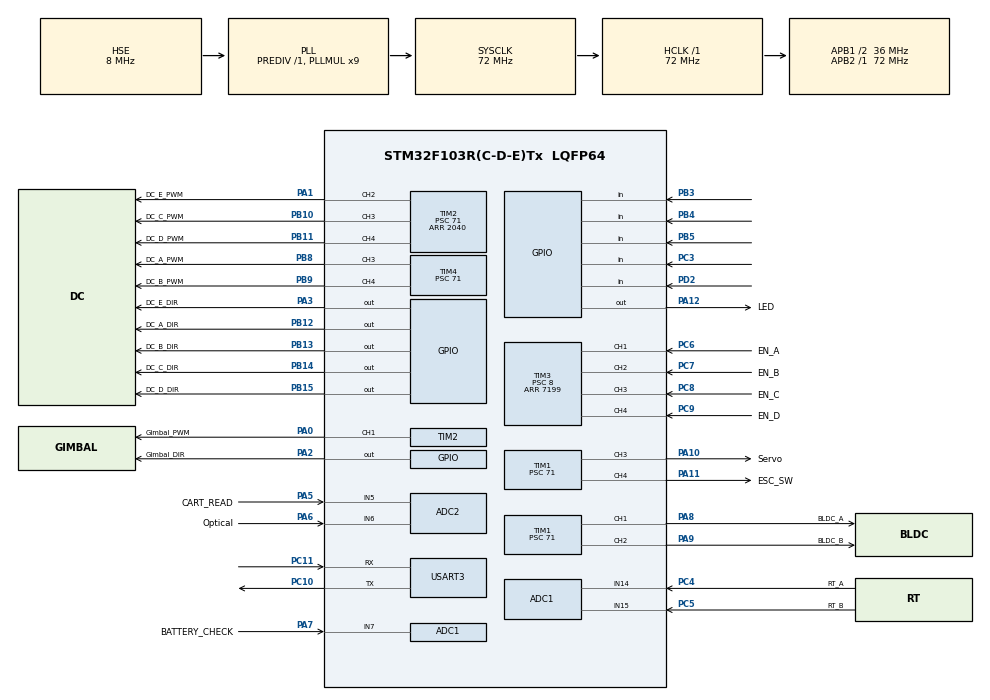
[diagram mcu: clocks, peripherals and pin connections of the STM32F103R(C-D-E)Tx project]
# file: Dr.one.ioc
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ADC1.Channel-0\#ChannelRegularConversion=ADC_CHANNEL_14
ADC1.Channel-1\#ChannelRegularConversion=ADC_CHANNEL_15
ADC1.Channel-2\#ChannelRegularConversion=ADC_CHANNEL_7
ADC1.ContinuousConvMode=ENABLE
ADC1.DataAlign=ADC_DATAALIGN_RIGHT
ADC1.DiscontinuousConvMode=DISABLE
ADC1.EnableAnalogWatchDog=false
ADC1.EnableRegularConversion=ENABLE
ADC1.ExternalTrigConv=ADC_SOFTWARE_START
ADC1.InjNumberOfConversion=0
ADC1.NbrOfConversion=3
ADC1.NbrOfConversionFlag=1
ADC1.Rank-0\#ChannelRegularConversion=1
ADC1.Rank-1\#ChannelRegularConversion=2
ADC1.Rank-2\#ChannelRegularConversion=3
ADC1.SamplingTime-0\#ChannelRegularConversion=ADC_SAMPLETIME_7CYCLES_5
ADC1.SamplingTime-1\#ChannelRegularConversion=ADC_SAMPLETIME_7CYCLES_5
ADC1.SamplingTime-2\#ChannelRegularConversion=ADC_SAMPLETIME_1CYCLE_5
ADC1.ScanConvMode=ADC_SCAN_ENABLE
ADC1.master=1
ADC2.Channel-15\#ChannelRegularConversion=ADC_CHANNEL_5
ADC2.Channel-18\#ChannelRegularConversion=ADC_CHANNEL_6
ADC2.ContinuousConvMode=ENABLE
ADC2.InjNumberOfConversion=0
ADC2.NbrOfConversion=2
ADC2.NbrOfConversionFlag=1
ADC2.Rank-15\#ChannelRegularConversion=1
ADC2.Rank-18\#ChannelRegularConversion=2
ADC2.SamplingTime-15\#ChannelRegularConversion=ADC_SAMPLETIME_1CYCLE_5
ADC2.SamplingTime-18\#ChannelRegularConversion=ADC_SAMPLETIME_1CYCLE_5
Mcu.Family=STM32F1
Mcu.Name=STM32F103R(C-D-E)Tx
Mcu.Package=LQFP64
NVIC.PriorityGroup=NVIC_PRIORITYGROUP_4
NVIC.TIM3_IRQn=true\:0\:0\:false\:false\:true\:true
NVIC.USART3_IRQn=true\:0\:0\:false\:false\:true\:true
PA0-WKUP.GPIO_Label=Gimbal_PWM
PA0-WKUP.GPIO_ModeDefaultPP=GPIO_MODE_AF_PP
PA0-WKUP.GPIO_Speed=GPIO_SPEED_FREQ_HIGH
PA0-WKUP.Signal=S_TIM2_CH1_ETR
PA1.GPIO_Label=DC_E_PWM
PA1.GPIO_ModeDefaultPP=GPIO_MODE_AF_PP
PA1.GPIO_Speed=GPIO_SPEED_FREQ_HIGH
PA1.Signal=S_TIM2_CH2
PA10.GPIO_Label=Servo
PA10.GPIO_ModeDefaultPP=GPIO_MODE_AF_PP
PA10.GPIO_Speed=GPIO_SPEED_FREQ_HIGH
PA10.Signal=S_TIM1_CH3
PA11.GPIO_Label=ESC_SW
PA11.GPIO_ModeDefaultPP=GPIO_MODE_AF_PP
PA11.GPIO_Speed=GPIO_SPEED_FREQ_HIGH
PA11.Signal=S_TIM1_CH4
PA12.GPIO_Label=LED
PA12.GPIO_ModeDefaultOutputPP=GPIO_MODE_OUTPUT_PP
PA12.GPIO_PuPd=GPIO_NOPULL
PA12.GPIO_Speed=GPIO_SPEED_FREQ_HIGH
PA12.PinState=GPIO_PIN_RESET
PA12.Signal=GPIO_Output
PA13.Mode=Serial_Wire
PA13.Signal=SYS_JTMS-SWDIO
PA14.Mode=Serial_Wire
PA14.Signal=SYS_JTCK-SWCLK
PA2.GPIO_Label=Gimbal_DIR
PA2.GPIO_ModeDefaultOutputPP=GPIO_MODE_OUTPUT_PP
PA2.GPIO_PuPd=GPIO_NOPULL
PA2.GPIO_Speed=GPIO_SPEED_FREQ_HIGH
PA2.PinState=GPIO_PIN_RESET
PA2.Signal=GPIO_Output
PA3.GPIO_Label=DC_E_DIR
PA3.GPIO_ModeDefaultOutputPP=GPIO_MODE_OUTPUT_PP
PA3.GPIO_PuPd=GPIO_NOPULL
PA3.GPIO_Speed=GPIO_SPEED_FREQ_HIGH
PA3.PinState=GPIO_PIN_RESET
PA3.Signal=GPIO_Output
PA5.GPIO_Label=CART_READ
PA5.GPIO_Mode=GPIO_MODE_ANALOG
PA5.Signal=ADCx_IN5
PA6.GPIO_Label=Optical
PA6.GPIO_Mode=GPIO_MODE_ANALOG
PA6.Signal=ADCx_IN6
PA7.GPIO_Label=BATTERY_CHECK
PA7.GPIO_Mode=GPIO_MODE_ANALOG
PA7.Signal=ADCx_IN7
PA8.GPIO_Label=BLDC_A
PA8.GPIO_ModeDefaultPP=GPIO_MODE_AF_PP
PA8.GPIO_Speed=GPIO_SPEED_FREQ_HIGH
PA8.Signal=S_TIM1_CH1
PA9.GPIO_Label=BLDC_B
PA9.GPIO_ModeDefaultPP=GPIO_MODE_AF_PP
PA9.GPIO_Speed=GPIO_SPEED_FREQ_HIGH
PA9.Signal=S_TIM1_CH2
PB10.GPIO_Label=DC_C_PWM
PB10.GPIO_ModeDefaultPP=GPIO_MODE_AF_PP
PB10.GPIO_Speed=GPIO_SPEED_FREQ_HIGH
PB10.Signal=S_TIM2_CH3
PB11.GPIO_Label=DC_D_PWM
PB11.GPIO_ModeDefaultPP=GPIO_MODE_AF_PP
PB11.GPIO_Speed=GPIO_SPEED_FREQ_HIGH
PB11.Signal=S_TIM2_CH4
PB12.GPIO_Label=DC_A_DIR
PB12.GPIO_ModeDefaultOutputPP=GPIO_MODE_OUTPUT_PP
PB12.GPIO_PuPd=GPIO_NOPULL
PB12.GPIO_Speed=GPIO_SPEED_FREQ_HIGH
PB12.PinState=GPIO_PIN_RESET
PB12.Signal=GPIO_Output
PB13.GPIO_Label=DC_B_DIR
PB13.GPIO_ModeDefaultOutputPP=GPIO_MODE_OUTPUT_PP
PB13.GPIO_PuPd=GPIO_NOPULL
PB13.GPIO_Speed=GPIO_SPEED_FREQ_HIGH
PB13.PinState=GPIO_PIN_RESET
PB13.Signal=GPIO_Output
PB14.GPIO_Label=DC_C_DIR
PB14.GPIO_ModeDefaultOutputPP=GPIO_MODE_OUTPUT_PP
PB14.GPIO_PuPd=GPIO_NOPULL
PB14.GPIO_Speed=GPIO_SPEED_FREQ_HIGH
PB14.PinState=GPIO_PIN_RESET
PB14.Signal=GPIO_Output
PB15.GPIO_Label=DC_D_DIR
PB15.GPIO_ModeDefaultOutputPP=GPIO_MODE_OUTPUT_PP
PB15.GPIO_PuPd=GPIO_NOPULL
PB15.GPIO_Speed=GPIO_SPEED_FREQ_HIGH
PB15.PinState=GPIO_PIN_RESET
PB15.Signal=GPIO_Output
PB3.GPIO_Mode=GPIO_MODE_INPUT
PB3.GPIO_PuPd=GPIO_NOPULL
PB3.Signal=GPIO_Input
PB4.GPIO_Mode=GPIO_MODE_INPUT
PB4.GPIO_PuPd=GPIO_NOPULL
PB4.Signal=GPIO_Input
PB5.GPIO_Mode=GPIO_MODE_INPUT
PB5.GPIO_PuPd=GPIO_NOPULL
PB5.Signal=GPIO_Input
PB8.GPIO_Label=DC_A_PWM
PB8.GPIO_ModeDefaultPP=GPIO_MODE_AF_PP
PB8.GPIO_Speed=GPIO_SPEED_FREQ_HIGH
PB8.Signal=S_TIM4_CH3
PB9.GPIO_Label=DC_B_PWM
PB9.GPIO_ModeDefaultPP=GPIO_MODE_AF_PP
PB9.GPIO_Speed=GPIO_SPEED_FREQ_HIGH
PB9.Signal=S_TIM4_CH4
PC10.GPIO_Speed=GPIO_SPEED_FREQ_HIGH
PC10.Mode=Asynchronous
PC10.Signal=USART3_TX
PC11.GPIO_PuPd=GPIO_PULLUP
PC11.Mode=Asynchronous
PC11.Signal=USART3_RX
PC3.GPIO_Mode=GPIO_MODE_INPUT
PC3.GPIO_PuPd=GPIO_NOPULL
PC3.Signal=GPIO_Input
PC4.GPIO_Label=RT_A
PC4.GPIO_Mode=GPIO_MODE_ANALOG
PC4.Signal=ADCx_IN14
PC5.GPIO_Label=RT_B
PC5.GPIO_Mode=GPIO_MODE_ANALOG
PC5.Signal=ADCx_IN15
PC6.GPIO_Label=EN_A
PC6.GPIO_Mode=GPIO_MODE_INPUT
PC6.GPIO_PuPd=GPIO_NOPULL
PC6.Signal=S_TIM3_CH1
PC7.GPIO_Label=EN_B
PC7.GPIO_Mode=GPIO_MODE_INPUT
PC7.GPIO_PuPd=GPIO_NOPULL
PC7.Signal=S_TIM3_CH2
PC8.GPIO_Label=EN_C
PC8.GPIO_Mode=GPIO_MODE_INPUT
PC8.GPIO_PuPd=GPIO_NOPULL
PC8.Signal=S_TIM3_CH3
PC9.GPIO_Label=EN_D
PC9.GPIO_Mode=GPIO_MODE_INPUT
PC9.GPIO_PuPd=GPIO_NOPULL
PC9.Signal=S_TIM3_CH4
PD0-OSC_IN.Mode=HSE-External-Oscillator
PD0-OSC_IN.Signal=RCC_OSC_IN
PD1-OSC_OUT.Mode=HSE-External-Oscillator
PD1-OSC_OUT.Signal=RCC_OSC_OUT
PD2.GPIO_Mode=GPIO_MODE_INPUT
PD2.GPIO_PuPd=GPIO_NOPULL
PD2.Signal=GPIO_Input
ProjectManager.HeapSize=0x200
ProjectManager.StackSize=0x400
ProjectManager.TargetToolchain=EWARM
RCC.ADCPresc=RCC_ADCPCLK2_DIV6
RCC.AHBFreq_Value=72000000
RCC.APB1CLKDivider=RCC_HCLK_DIV2
RCC.APB1Freq_Value=36000000
RCC.APB1TimFreq_Value=72000000
RCC.APB2Freq_Value=72000000
RCC.APB2TimFreq_Value=72000000
RCC.HCLKFreq_Value=72000000
RCC.PLLMUL=RCC_PLL_MUL9
RCC.PLLSourceVirtual=RCC_PLLSOURCE_HSE
RCC.SYSCLKFreq_VALUE=72000000
RCC.SYSCLKSource=RCC_SYSCLKSOURCE_PLLCLK
RCC.USBFreq_Value=72000000
SH.ADCx_IN14.0=ADC1_IN14,IN14
SH.ADCx_IN15.0=ADC1_IN15,IN15
SH.ADCx_IN5.0=ADC2_IN5,IN5
SH.ADCx_IN6.0=ADC2_IN6,IN6
SH.ADCx_IN7.0=ADC1_IN7,IN7
SH.S_TIM1_CH1.0=TIM1_CH1,PWM Generation1 CH1
SH.S_TIM1_CH2.0=TIM1_CH2,PWM Generation2 CH2
SH.S_TIM1_CH3.0=TIM1_CH3,PWM Generation3 CH3
SH.S_TIM1_CH4.0=TIM1_CH4,PWM Generation4 CH4
SH.S_TIM2_CH1_ETR.0=TIM2_CH1,PWM Generation1 CH1
SH.S_TIM2_CH2.0=TIM2_CH2,PWM Generation2 CH2
SH.S_TIM2_CH3.0=TIM2_CH3,PWM Generation3 CH3
SH.S_TIM2_CH4.0=TIM2_CH4,PWM Generation4 CH4
SH.S_TIM3_CH1.0=TIM3_CH1,Input_Capture1_from_TI1
SH.S_TIM3_CH2.0=TIM3_CH2,Input_Capture2_from_TI2
SH.S_TIM3_CH3.0=TIM3_CH3,Input_Capture3_from_TI3
SH.S_TIM3_CH4.0=TIM3_CH4,Input_Capture4_from_TI4
SH.S_TIM4_CH3.0=TIM4_CH3,PWM Generation3 CH3
SH.S_TIM4_CH4.0=TIM4_CH4,PWM Generation4 CH4
TIM1.Channel-PWM\ Generation1\ CH1=TIM_CHANNEL_1
TIM1.Channel-PWM\ Generation2\ CH2=TIM_CHANNEL_2
TIM1.Channel-PWM\ Generation3\ CH3=TIM_CHANNEL_3
TIM1.Channel-PWM\ Generation4\ CH4=TIM_CHANNEL_4
TIM1.OCFastMode_PWM-PWM\ Generation1\ CH1=TIM_OCFAST_ENABLE
TIM1.OCFastMode_PWM-PWM\ Generation2\ CH2=TIM_OCFAST_ENABLE
TIM1.OCFastMode_PWM-PWM\ Generation3\ CH3=TIM_OCFAST_ENABLE
TIM1.OCIdleState_1=TIM_OCIDLESTATE_SET
TIM1.OCIdleState_2=TIM_OCIDLESTATE_SET
TIM1.OCIdleState_3=TIM_OCIDLESTATE_SET
TIM1.OCMode_PWM-PWM\ Generation2\ CH2=TIM_OCMODE_PWM1
TIM1.Period=2040
TIM1.Prescaler=71
TIM2.Channel-PWM\ Generation1\ CH1=TIM_CHANNEL_1
TIM2.Channel-PWM\ Generation2\ CH2=TIM_CHANNEL_2
TIM2.Channel-PWM\ Generation3\ CH3=TIM_CHANNEL_3
TIM2.Channel-PWM\ Generation4\ CH4=TIM_CHANNEL_4
TIM2.OCFastMode_PWM-PWM\ Generation1\ CH1=TIM_OCFAST_ENABLE
TIM2.OCFastMode_PWM-PWM\ Generation2\ CH2=TIM_OCFAST_ENABLE
TIM2.OCFastMode_PWM-PWM\ Generation3\ CH3=TIM_OCFAST_ENABLE
TIM2.OCFastMode_PWM-PWM\ Generation4\ CH4=TIM_OCFAST_ENABLE
TIM2.Period=2040
TIM2.Prescaler=71
TIM3.Channel-Input_Capture1_from_TI1=TIM_CHANNEL_1
TIM3.Channel-Input_Capture2_from_TI2=TIM_CHANNEL_2
TIM3.Channel-Input_Capture3_from_TI3=TIM_CHANNEL_3
TIM3.Channel-Input_Capture4_from_TI4=TIM_CHANNEL_4
TIM3.Period=7199
TIM3.Prescaler=8
TIM4.Channel-PWM\ Generation3\ CH3=TIM_CHANNEL_3
TIM4.Channel-PWM\ Generation4\ CH4=TIM_CHANNEL_4
TIM4.OCFastMode_PWM-PWM\ Generation3\ CH3=TIM_OCFAST_ENABLE
TIM4.OCFastMode_PWM-PWM\ Generation4\ CH4=TIM_OCFAST_ENABLE
TIM4.OCPolarity_3=TIM_OCPOLARITY_HIGH
TIM4.OCPolarity_4=TIM_OCPOLARITY_HIGH
TIM4.Period=2040
TIM4.Prescaler=71
USART3.VirtualMode=VM_ASYNC
board=custom

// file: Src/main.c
/**
  ******************************************************************************
  * @file           : main.c
  * @brief          : Main program body
  ******************************************************************************
  ** This notice applies to any and all portions of this file
  * that are not between comment pairs USER CODE BEGIN and
  * USER CODE END. Other portions of this file, whether
  * inserted by the user or by software development tools
  * are owned by their respective copyright owners.
  *
  * COPYRIGHT(c) 2018 STMicroelectronics
  *
  * Redistribution and use in source and binary forms, with or without modification,
  * are permitted provided that the following conditions are met:
  *   1. Redistributions of source code must retain the above copyright notice,
  *      this list of conditions and the following disclaimer.
  *   2. Redistributions in binary form must reproduce the above copyright notice,
  *      this list of conditions and the following disclaimer in the documentation
  *      and/or other materials provided with the distribution.
  *   3. Neither the name of STMicroelectronics nor the names of its contributors
  *      may be used to endorse or promote products derived from this software
  *      without specific prior written permission.
  *
  * THIS SOFTWARE IS PROVIDED BY THE COPYRIGHT HOLDERS AND CONTRIBUTORS "AS IS"
  * AND ANY EXPRESS OR IMPLIED WARRANTIES, INCLUDING, BUT NOT LIMITED TO, THE
  * IMPLIED WARRANTIES OF MERCHANTABILITY AND FITNESS FOR A PARTICULAR PURPOSE ARE
  * DISCLAIMED. IN NO EVENT SHALL THE COPYRIGHT HOLDER OR CONTRIBUTORS BE LIABLE
  * FOR ANY DIRECT, INDIRECT, INCIDENTAL, SPECIAL, EXEMPLARY, OR CONSEQUENTIAL
  * DAMAGES (INCLUDING, BUT NOT LIMITED TO, PROCUREMENT OF SUBSTITUTE GOODS OR
  * SERVICES; LOSS OF USE, DATA, OR PROFITS; OR BUSINESS INTERRUPTION) HOWEVER
  * CAUSED AND ON ANY THEORY OF LIABILITY, WHETHER IN CONTRACT, STRICT LIABILITY,
  * OR TORT (INCLUDING NEGLIGENCE OR OTHERWISE) ARISING IN ANY WAY OUT OF THE USE
  * OF THIS SOFTWARE, EVEN IF ADVISED OF THE POSSIBILITY OF SUCH DAMAGE.
  *
  ******************************************************************************
  */
#include "main.h"
#include "stm32f1xx_hal.h"

/* USER CODE BEGIN Includes */
#include "rs485.h"
/* USER CODE END Includes */

ADC_HandleTypeDef hadc1;
ADC_HandleTypeDef hadc2;

TIM_HandleTypeDef htim1;
TIM_HandleTypeDef htim2;
TIM_HandleTypeDef htim3;
TIM_HandleTypeDef htim4;

UART_HandleTypeDef huart3;

/* USER CODE BEGIN PV */

/* Private variables ---------------------------------------------------------*/

//
/*
DC Pin Number 0~3 = A~D
     D

 C |  | C

     B
  []
*/
DC dc0 = {DC_A_DIR_GPIO_Port, DC_A_PWM_GPIO_Port, DC_A_DIR_Pin, DC_A_PWM_Pin , 0};
DC dc1 = {DC_B_DIR_GPIO_Port, DC_B_PWM_GPIO_Port, DC_B_DIR_Pin, DC_B_PWM_Pin, 0};
DC dc2 = {DC_C_DIR_GPIO_Port, DC_C_PWM_GPIO_Port, DC_C_DIR_Pin, DC_C_PWM_Pin, 0};
DC dc3 = {DC_D_DIR_GPIO_Port, DC_D_PWM_GPIO_Port, DC_D_DIR_Pin, DC_D_PWM_Pin, 0};
DC dc4 = {DC_E_DIR_GPIO_Port, DC_E_PWM_GPIO_Port, DC_E_DIR_Pin, DC_E_PWM_Pin, 0};

// BLDC
BL bl0 = {BLDC_A_GPIO_Port, BLDC_A_Pin}; // ��
BL bl1 = {BLDC_B_GPIO_Port, BLDC_B_Pin}; // ��

//  ch0~3 = dc0~3
CH ch0 = {0, 0, 0, 0, {0, 0, 0}, 0};  // newv, oldv, width, angle, data[3], status
CH ch1 = {0, 0, 0, 0, {0, 0, 0}, 0};
CH ch2 = {0, 0, 0, 0, {0, 0, 0}, 0};
CH ch3 = {0, 0, 0, 0, {0, 0, 0}, 0};

// pid0~3 = dc0~3
PID pid0 = {7.75, 6.5, 0, 0, 0, 0, 0, 0, 0, 0, 0, 0, 0, 0, 0, 0, 0, 0, 0, 0}; // kp, ki, kd, p, i, d, err, err_prev, de, dt, control,, kp_integer, kp_decimal, ki~, kd~
PID pid1 = {50, 1, 0, 0, 0, 0, 0, 0, 0, 0, 0, 0, 0, 0, 0, 0, 0, 0, 0, 0};
PID pid2 = {30.5, 0.25, 0, 0, 0, 0, 0, 0, 0, 0, 0, 0, 0, 0, 0, 0, 0, 0, 0, 0};
PID pid3 = {60.0, 3.25, 0, 0, 0, 0, 0, 0, 0, 0, 0, 0, 0, 0, 0, 0, 0, 0, 0, 0};
PID pid4 = {1, 1, 0, 0, 0, 0, 0, 0, 0, 0, 0, 0, 0, 0, 0, 0, 0, 0, 0, 0};

CONTROL roll       =  {0, 0, 0, 0, 0, 0};
CONTROL pitch      =  {0, 0, 0, 0, 0, 0};
CONTROL yaw        =  {0, 0, 0, 0, 0, 0};

/* USER CODE END PV */

void SystemClock_Config(void);
static void MX_GPIO_Init(void);
static void MX_ADC1_Init(void);
static void MX_TIM1_Init(void);
static void MX_TIM2_Init(void);
static void MX_TIM3_Init(void);
static void MX_TIM4_Init(void);
static void MX_ADC2_Init(void);
static void MX_USART3_UART_Init(void);
void HAL_TIM_MspPostInit(TIM_HandleTypeDef *htim);

/* USER CODE BEGIN PFP */
/* Private function prototypes -----------------------------------------------*/

//  Falling Edge<-> Rising Edge
static void set_polarity(TIM_TypeDef *tim,uint16_t ch,uint16_t polarity);
float getMvAverage(__IO float *ch, __IO float value, int len);
void setPidBLDC (PID *pid);
void setPidDC(PID *pid, CH *ch, DC *dc, int axis);

void sepReceiveBuf(PID *pid, int bufCount);
void sumReceiveBuf(PID *pid);
void entReceiveBuf();

int map(int x, int in_min, int in_max, int out_min, int out_max);
float map_float(float x, float in_min, float in_max, float out_min, float out_max);
uint8_t checkSum(uint8_t *data, uint8_t len, uint8_t checkSumByte);
void calEncoder(CH *ch);
void USART_ClearITPendingBit(UART_HandleTypeDef* USARTx, uint16_t USART_IT);

/* USER CODE END PFP */

/* USER CODE BEGIN 0 */

static int timer2Tick = 0;
int throttle = 0;
float targetDeg = 0.;
uint8_t ReceiveFromRpiBuf[RECEIVE_FROM_RPI_BYTE];
uint8_t Fill_ReceiveFromRpi = 0;
uint8_t ArmState = 0;
float prev_p = 0;
float prev_i = 0;
float prev_d = 0;

/* USER CODE END 0 */

int main(void)
{

  /* MCU Configuration----------------------------------------------------------*/

  /* Reset of all peripherals, Initializes the Flash interface and the Systick. */
  HAL_Init();

  /* Configure the system clock */
  SystemClock_Config();

  MX_GPIO_Init();
  MX_ADC1_Init();
  MX_TIM1_Init();
  MX_TIM2_Init();
  MX_TIM3_Init();
  MX_TIM4_Init();
  MX_ADC2_Init();
  MX_USART3_UART_Init();
  /* USER CODE BEGIN 2 */

  // BLDC Motor  490 Hz period  pulse width 0 ~ 2040
  HAL_TIM_PWM_Start(&htim1, TIM_CHANNEL_1);             // Bldc Motor 0
  HAL_TIM_PWM_Start(&htim1, TIM_CHANNEL_2);             // Bldc Motor 1
  //HAL_TIM_PWM_Start(&htim1, TIM_CHANNEL_3);           // Bldc Motor 1
  HAL_TIM_Base_Start_IT(&htim1);

  // DC Motor 490Hz Period   pulse width 0 ~ 1020
  HAL_TIM_PWM_Start(&htim4, TIM_CHANNEL_3);             // DC Motor A
  HAL_TIM_PWM_Start(&htim4, TIM_CHANNEL_4);             // DC Motor B
  HAL_TIM_PWM_Start(&htim2, TIM_CHANNEL_3);             // DC Motor C
  HAL_TIM_PWM_Start(&htim2, TIM_CHANNEL_4);             // DC Motor D
  HAL_TIM_PWM_Start(&htim2, TIM_CHANNEL_2);             // DC Motor E

  // ESC Switch 490Hz Period     pulse width 0 ~ 2040
  // HAL_TIM_PWM_Start(&htim1, TIM_CHANNEL_4);             // ESC Switch

  // InputCaputre 0 ~ 7200
  HAL_TIM_IC_Start_IT(&htim3, TIM_CHANNEL_1);           // Encoder A
  HAL_TIM_IC_Start_IT(&htim3, TIM_CHANNEL_2);           // Encoder B
  HAL_TIM_IC_Start_IT(&htim3, TIM_CHANNEL_3);           // Encoder C
  HAL_TIM_IC_Start_IT(&htim3, TIM_CHANNEL_4);           // Encoder D

  HAL_FLASH_Unlock();
  __IO uint16_t readTemp = *(__IO uint16_t *)PID0_KP;
  if( (float)readTemp/1000 == 0.0 )
  {
    printf("Flash Memory Read Failed\r\n");
  }
  else
  {
    pid0.kp = (float)readTemp / 1000;
    readTemp = *(__IO uint16_t *)PID0_KI;
    pid0.ki = (float)readTemp / 1000;
    readTemp = *(__IO uint16_t *)PID0_KD;
    pid0.kd = (float)readTemp / 1000;

    readTemp = *(__IO uint16_t *)PID1_KP;
    pid1.kp = (float)readTemp / 1000;
    readTemp = *(__IO uint16_t *)PID1_KI;
    pid1.ki = (float)readTemp / 1000;
    readTemp = *(__IO uint16_t *)PID1_KD;
    pid1.kd = (float)readTemp / 1000;

    readTemp = *(__IO uint16_t *)PID2_KP;
    pid2.kp = (float)readTemp / 1000;
    readTemp = *(__IO uint16_t *)PID2_KI;
    pid2.ki = (float)readTemp / 1000;
    readTemp = *(__IO uint16_t *)PID2_KD;
    pid2.kd = (float)readTemp / 1000;

    readTemp = *(__IO uint16_t *)PID3_KP;
    pid3.kp = (float)readTemp / 1000;
    readTemp = *(__IO uint16_t *)PID3_KI;
    pid3.ki = (float)readTemp / 1000;
    readTemp = *(__IO uint16_t *)PID3_KD;
    pid3.kd = (float)readTemp / 1000;

    readTemp = *(__IO uint16_t *)PID4_KP;
    pid4.kp = (float)readTemp / 1000;
    readTemp = *(__IO uint16_t *)PID4_KI;
    pid4.ki = (float)readTemp / 1000;
    readTemp = *(__IO uint16_t *)PID4_KD;
    pid4.kd = (float)readTemp / 1000;

    HAL_FLASH_Lock();

    prev_p = pid4.kp;
    prev_i = pid4.ki;
    prev_d = pid4.kd;
  }
  printf("Flash Memory Read Ok\r\n");

  /* USER CODE END 2 */
  printf("%.3f %.3f %.3f %.3f %.3f %.3f %.3f %.3f %.3f %.3f %.3f %.3f %.3f %.3f %.3f\n", pid0.kp, pid0.ki, pid0.kd, pid1.kp, pid1.ki, pid1.kd, pid2.kp, pid2.ki, pid2.kd,  pid3.kp, pid3.ki, pid3.kd, pid4.kp, pid4.ki, pid4.kd);
  printf("Main\r\n");
  HAL_Delay(3000);

  /* Infinite loop */
  while (1)
  {

  /* USER CODE BEGIN 3 */
    HAL_UART_Receive_IT(&huart3, (uint8_t*)ReceiveFromRpiBuf, RECEIVE_FROM_RPI_BYTE);
    if(Fill_ReceiveFromRpi == 1)
    {
      entReceiveBuf();
      if(pid4.kp != 0)
      {
        if( (pid4.kp != prev_p) || (pid4.ki != prev_i) || (pid4.kd != prev_d))
        {
          TIM1->CCR1 = 1000;
          TIM1->CCR2 = 1000;

          prev_p = pid4.kp;
          prev_i = pid4.ki;
          prev_d = pid4.kd;

          HAL_FLASH_Unlock();
          static FLASH_EraseInitTypeDef EraseInitStruct;
          EraseInitStruct.TypeErase   = FLASH_TYPEERASE_PAGES;
          EraseInitStruct.PageAddress = FLASH_USER_START_ADDR;
          EraseInitStruct.NbPages     = (FLASH_USER_END_ADDR - FLASH_USER_START_ADDR) / FLASH_PAGE_SIZE;
          uint32_t PAGEError = 0;

          HAL_FLASHEx_Erase(&EraseInitStruct, &PAGEError);

          HAL_FLASH_Program(FLASH_TYPEPROGRAM_HALFWORD, PID0_KP, ((uint16_t)(pid0.kp*1000)));
          HAL_FLASH_Program(FLASH_TYPEPROGRAM_HALFWORD, PID0_KI, ((uint16_t)(pid0.ki*1000)));
          HAL_FLASH_Program(FLASH_TYPEPROGRAM_HALFWORD, PID0_KD, ((uint16_t)(pid0.kd*1000)));
          HAL_FLASH_Program(FLASH_TYPEPROGRAM_HALFWORD, PID1_KP, ((uint16_t)(pid1.kp*1000)));
          HAL_FLASH_Program(FLASH_TYPEPROGRAM_HALFWORD, PID1_KI, ((uint16_t)(pid1.ki*1000)));
          HAL_FLASH_Program(FLASH_TYPEPROGRAM_HALFWORD, PID1_KD, ((uint16_t)(pid1.kd*1000)));
          HAL_FLASH_Program(FLASH_TYPEPROGRAM_HALFWORD, PID2_KP, ((uint16_t)(pid2.kp*1000)));
          HAL_FLASH_Program(FLASH_TYPEPROGRAM_HALFWORD, PID2_KI, ((uint16_t)(pid2.ki*1000)));
          HAL_FLASH_Program(FLASH_TYPEPROGRAM_HALFWORD, PID2_KD, ((uint16_t)(pid2.kd*1000)));
          HAL_FLASH_Program(FLASH_TYPEPROGRAM_HALFWORD, PID3_KP, ((uint16_t)(pid3.kp*1000)));
          HAL_FLASH_Program(FLASH_TYPEPROGRAM_HALFWORD, PID3_KI, ((uint16_t)(pid3.ki*1000)));
          HAL_FLASH_Program(FLASH_TYPEPROGRAM_HALFWORD, PID3_KD, ((uint16_t)(pid3.kd*1000)));
          HAL_FLASH_Program(FLASH_TYPEPROGRAM_HALFWORD, PID4_KP, ((uint16_t)(pid4.kp*1000)));
          HAL_FLASH_Program(FLASH_TYPEPROGRAM_HALFWORD, PID4_KI, ((uint16_t)(pid4.ki*1000)));
          HAL_FLASH_Program(FLASH_TYPEPROGRAM_HALFWORD, PID4_KD, ((uint16_t)(pid4.kd*1000)));

          HAL_FLASH_Lock();
          #define AIRCR_VECTKEY_MASK      (0x05FA0000)
          SCB->AIRCR = AIRCR_VECTKEY_MASK|0x04;
        }
      }

      Fill_ReceiveFromRpi = 0;
    }

    if(ch0.status == 1) {
      calEncoder(&ch0);
      ch0.angle = map_float(ch0.angle,0.,360.,360.,0.);
    }
    if(ch1.status == 1)
      calEncoder(&ch1);
    if(ch2.status == 1)
      calEncoder(&ch2);
    if(ch3.status == 1) {
      calEncoder(&ch3);
      ch3.angle = map_float(ch3.angle,0.,360.,360.,0.);
    }

    // pid Control
    setPidDC(&pid0, &ch0, &dc0, 1);
    setPidDC(&pid1, &ch1, &dc1, 0);
    setPidDC(&pid2, &ch2, &dc2, 1);
    setPidDC(&pid3, &ch3, &dc3, 0);
    setPidBLDC(&pid4);

    /* DC  */
    // DC Motor Directrion, GPIO_PIN_RESET = +, GPIO_PIN_SET -

    if(dc0.setValue > 0)
        HAL_GPIO_WritePin(DC_A_DIR_GPIO_Port, DC_A_DIR_Pin, GPIO_PIN_SET);
    else
        HAL_GPIO_WritePin(DC_A_DIR_GPIO_Port, DC_A_DIR_Pin, GPIO_PIN_RESET);
    if(dc1.setValue > 0)
        HAL_GPIO_WritePin(DC_B_DIR_GPIO_Port, DC_B_DIR_Pin, GPIO_PIN_RESET);
    else
        HAL_GPIO_WritePin(DC_B_DIR_GPIO_Port, DC_B_DIR_Pin, GPIO_PIN_SET);
    if(dc2.setValue > 0)
        HAL_GPIO_WritePin(DC_C_DIR_GPIO_Port, DC_C_DIR_Pin, GPIO_PIN_RESET);
    else
        HAL_GPIO_WritePin(DC_C_DIR_GPIO_Port, DC_C_DIR_Pin, GPIO_PIN_SET);
    if(dc3.setValue > 0)
        HAL_GPIO_WritePin(DC_D_DIR_GPIO_Port, DC_D_DIR_Pin, GPIO_PIN_SET);
    else
        HAL_GPIO_WritePin(DC_D_DIR_GPIO_Port, DC_D_DIR_Pin, GPIO_PIN_RESET);

   //printf("ch0 check : %.3f\n", ch0.angle);
   //printf("tim4 ccr3\r\n");

   TIM4 -> CCR3 = abs(dc0.setValue); // DC_A
   TIM4 -> CCR4 = abs(dc1.setValue); // DC_B
   TIM2 -> CCR3 = abs(dc2.setValue); // DC_C
   TIM2 -> CCR4 = abs(dc3.setValue); // DC_D

   if(throttle == 0)
   {
     TIM1 -> CCR1 = 1000;
     TIM1 -> CCR2 = 1000;
     bl0.setValue = 0;
     bl1.setValue = 0;
     pid4.i = 0;
   }
   else
   {
     if(pid4.control > 0 )
     {
       bl0.setValue = -fabs(pid4.control)/2.;
       bl1.setValue = +fabs(pid4.control)/2.;
     }
     else
     {
       bl0.setValue = +fabs(pid4.control)/2.;
       bl1.setValue = -fabs(pid4.control)/2.;
     }

      bl0.setValue += throttle;
      bl1.setValue += throttle;

      bl0.setValue=constrain(bl0.setValue,0,900);
      bl1.setValue=constrain(bl1.setValue,0,900);

      TIM1 -> CCR1 = 1100 + bl0.setValue;                        // ��
      TIM1 -> CCR2 = 1100 + bl1.setValue;                        // ��
   }

   if(dc4.setValue > 127) {
      HAL_GPIO_WritePin(DC_E_DIR_GPIO_Port, DC_E_DIR_Pin, GPIO_PIN_RESET);
      TIM2->CCR2 = map(dc4.setValue - 128, 0, 127, 0, 500);
   }
   else {
      HAL_GPIO_WritePin(DC_E_DIR_GPIO_Port, DC_E_DIR_Pin, GPIO_PIN_SET);
      TIM2->CCR2 = map(dc4.setValue, 0, 127, 0, 500);
   }

    //printf("%d %d %d %d %d\r\n", bl0.setValue, bl1.setValue, roll.target, pitch.target, yaw.target);

   //printf("%d\t\n",  dc0.setValue);   //printf("%d\t",  dc1.setValue);
   //printf("%d\t",  dc2.setValue);   printf("%d\t",  dc3.setValue);
   //printf("\n");

   //printf("A:\t"); printf("%d\t",dc0.setValue); printf("%.3f\n", ch3.angle);
   //printf("B:\t"); printf("%d\t",dc1.setValue); printf("%.3f\n", ch2.angle);
   //printf("C:\t"); printf("%d\t",dc2.setValue); printf("%.3f\n", ch1.angle);
   //printf("D:\t"); printf("%d\t",dc3.setValue); printf("%.3f\n\n", ch0.angle);

  }
  /* USER CODE END 3 */

}

void SystemClock_Config(void)
{

  RCC_OscInitTypeDef RCC_OscInitStruct;
  RCC_ClkInitTypeDef RCC_ClkInitStruct;
  RCC_PeriphCLKInitTypeDef PeriphClkInit;

    /**Initializes the CPU, AHB and APB busses clocks
    */
  RCC_OscInitStruct.OscillatorType = RCC_OSCILLATORTYPE_HSE;
  RCC_OscInitStruct.HSEState = RCC_HSE_ON;
  RCC_OscInitStruct.HSEPredivValue = RCC_HSE_PREDIV_DIV1;
  RCC_OscInitStruct.HSIState = RCC_HSI_ON;
  RCC_OscInitStruct.PLL.PLLState = RCC_PLL_ON;
  RCC_OscInitStruct.PLL.PLLSource = RCC_PLLSOURCE_HSE;
  RCC_OscInitStruct.PLL.PLLMUL = RCC_PLL_MUL9;
  if (HAL_RCC_OscConfig(&RCC_OscInitStruct) != HAL_OK)
  {
    _Error_Handler(__FILE__, __LINE__);
  }

    /**Initializes the CPU, AHB and APB busses clocks
    */
  RCC_ClkInitStruct.ClockType = RCC_CLOCKTYPE_HCLK|RCC_CLOCKTYPE_SYSCLK
                              |RCC_CLOCKTYPE_PCLK1|RCC_CLOCKTYPE_PCLK2;
  RCC_ClkInitStruct.SYSCLKSource = RCC_SYSCLKSOURCE_PLLCLK;
  RCC_ClkInitStruct.AHBCLKDivider = RCC_SYSCLK_DIV1;
  RCC_ClkInitStruct.APB1CLKDivider = RCC_HCLK_DIV2;
  RCC_ClkInitStruct.APB2CLKDivider = RCC_HCLK_DIV1;

  if (HAL_RCC_ClockConfig(&RCC_ClkInitStruct, FLASH_LATENCY_2) != HAL_OK)
  {
    _Error_Handler(__FILE__, __LINE__);
  }

  PeriphClkInit.PeriphClockSelection = RCC_PERIPHCLK_ADC;
  PeriphClkInit.AdcClockSelection = RCC_ADCPCLK2_DIV6;
  if (HAL_RCCEx_PeriphCLKConfig(&PeriphClkInit) != HAL_OK)
  {
    _Error_Handler(__FILE__, __LINE__);
  }

    /**Configure the Systick interrupt time
    */
  HAL_SYSTICK_Config(HAL_RCC_GetHCLKFreq()/1000);

    /**Configure the Systick
    */
  HAL_SYSTICK_CLKSourceConfig(SYSTICK_CLKSOURCE_HCLK);

  /* SysTick_IRQn interrupt configuration */
  HAL_NVIC_SetPriority(SysTick_IRQn, 0, 0);
}

/* ADC1 init function */
static void MX_ADC1_Init(void)
{

  ADC_ChannelConfTypeDef sConfig;

    /**Common config
    */
  hadc1.Instance = ADC1;
  hadc1.Init.ScanConvMode = ADC_SCAN_ENABLE;
  hadc1.Init.ContinuousConvMode = ENABLE;
  hadc1.Init.DiscontinuousConvMode = DISABLE;
  hadc1.Init.ExternalTrigConv = ADC_SOFTWARE_START;
  hadc1.Init.DataAlign = ADC_DATAALIGN_RIGHT;
  hadc1.Init.NbrOfConversion = 3;
  if (HAL_ADC_Init(&hadc1) != HAL_OK)
  {
    _Error_Handler(__FILE__, __LINE__);
  }

    /**Configure Regular Channel
    */
  sConfig.Channel = ADC_CHANNEL_14;
  sConfig.Rank = ADC_REGULAR_RANK_1;
  sConfig.SamplingTime = ADC_SAMPLETIME_7CYCLES_5;
  if (HAL_ADC_ConfigChannel(&hadc1, &sConfig) != HAL_OK)
  {
    _Error_Handler(__FILE__, __LINE__);
  }

    /**Configure Regular Channel
    */
  sConfig.Channel = ADC_CHANNEL_15;
  sConfig.Rank = ADC_REGULAR_RANK_2;
  if (HAL_ADC_ConfigChannel(&hadc1, &sConfig) != HAL_OK)
  {
    _Error_Handler(__FILE__, __LINE__);
  }

    /**Configure Regular Channel
    */
  sConfig.Channel = ADC_CHANNEL_7;
  sConfig.Rank = ADC_REGULAR_RANK_3;
  sConfig.SamplingTime = ADC_SAMPLETIME_1CYCLE_5;
  if (HAL_ADC_ConfigChannel(&hadc1, &sConfig) != HAL_OK)
  {
    _Error_Handler(__FILE__, __LINE__);
  }

}

/* ADC2 init function */
static void MX_ADC2_Init(void)
{

  ADC_ChannelConfTypeDef sConfig;

    /**Common config
    */
  hadc2.Instance = ADC2;
  hadc2.Init.ScanConvMode = ADC_SCAN_ENABLE;
  hadc2.Init.ContinuousConvMode = ENABLE;
  hadc2.Init.DiscontinuousConvMode = DISABLE;
  hadc2.Init.ExternalTrigConv = ADC_SOFTWARE_START;
  hadc2.Init.DataAlign = ADC_DATAALIGN_RIGHT;
  hadc2.Init.NbrOfConversion = 2;
  if (HAL_ADC_Init(&hadc2) != HAL_OK)
  {
    _Error_Handler(__FILE__, __LINE__);
  }

    /**Configure Regular Channel
    */
  sConfig.Channel = ADC_CHANNEL_5;
  sConfig.Rank = ADC_REGULAR_RANK_1;
  sConfig.SamplingTime = ADC_SAMPLETIME_1CYCLE_5;
  if (HAL_ADC_ConfigChannel(&hadc2, &sConfig) != HAL_OK)
  {
    _Error_Handler(__FILE__, __LINE__);
  }

    /**Configure Regular Channel
    */
  sConfig.Channel = ADC_CHANNEL_6;
  sConfig.Rank = ADC_REGULAR_RANK_2;
  if (HAL_ADC_ConfigChannel(&hadc2, &sConfig) != HAL_OK)
  {
    _Error_Handler(__FILE__, __LINE__);
  }

}

/* TIM1 init function */
static void MX_TIM1_Init(void)
{

  TIM_MasterConfigTypeDef sMasterConfig;
  TIM_OC_InitTypeDef sConfigOC;
  TIM_BreakDeadTimeConfigTypeDef sBreakDeadTimeConfig;

  htim1.Instance = TIM1;
  htim1.Init.Prescaler = 71;
  htim1.Init.CounterMode = TIM_COUNTERMODE_UP;
  htim1.Init.Period = 2040;
  htim1.Init.ClockDivision = TIM_CLOCKDIVISION_DIV1;
  htim1.Init.RepetitionCounter = 0;
  htim1.Init.AutoReloadPreload = TIM_AUTORELOAD_PRELOAD_DISABLE;
  if (HAL_TIM_PWM_Init(&htim1) != HAL_OK)
  {
    _Error_Handler(__FILE__, __LINE__);
  }

  sMasterConfig.MasterOutputTrigger = TIM_TRGO_RESET;
  sMasterConfig.MasterSlaveMode = TIM_MASTERSLAVEMODE_DISABLE;
  if (HAL_TIMEx_MasterConfigSynchronization(&htim1, &sMasterConfig) != HAL_OK)
  {
    _Error_Handler(__FILE__, __LINE__);
  }

  sConfigOC.OCMode = TIM_OCMODE_PWM1;
  sConfigOC.Pulse = 1000;
  sConfigOC.OCPolarity = TIM_OCPOLARITY_HIGH;
  sConfigOC.OCNPolarity = TIM_OCNPOLARITY_HIGH;
  sConfigOC.OCFastMode = TIM_OCFAST_ENABLE;
  sConfigOC.OCIdleState = TIM_OCIDLESTATE_SET;
  sConfigOC.OCNIdleState = TIM_OCNIDLESTATE_RESET;
  if (HAL_TIM_PWM_ConfigChannel(&htim1, &sConfigOC, TIM_CHANNEL_1) != HAL_OK)
  {
    _Error_Handler(__FILE__, __LINE__);
  }

  if (HAL_TIM_PWM_ConfigChannel(&htim1, &sConfigOC, TIM_CHANNEL_2) != HAL_OK)
  {
    _Error_Handler(__FILE__, __LINE__);
  }

  if (HAL_TIM_PWM_ConfigChannel(&htim1, &sConfigOC, TIM_CHANNEL_3) != HAL_OK)
  {
    _Error_Handler(__FILE__, __LINE__);
  }

  sConfigOC.OCFastMode = TIM_OCFAST_DISABLE;
  sConfigOC.OCIdleState = TIM_OCIDLESTATE_RESET;
  if (HAL_TIM_PWM_ConfigChannel(&htim1, &sConfigOC, TIM_CHANNEL_4) != HAL_OK)
  {
    _Error_Handler(__FILE__, __LINE__);
  }

  sBreakDeadTimeConfig.OffStateRunMode = TIM_OSSR_DISABLE;
  sBreakDeadTimeConfig.OffStateIDLEMode = TIM_OSSI_DISABLE;
  sBreakDeadTimeConfig.LockLevel = TIM_LOCKLEVEL_OFF;
  sBreakDeadTimeConfig.DeadTime = 0;
  sBreakDeadTimeConfig.BreakState = TIM_BREAK_DISABLE;
  sBreakDeadTimeConfig.BreakPolarity = TIM_BREAKPOLARITY_HIGH;
  sBreakDeadTimeConfig.AutomaticOutput = TIM_AUTOMATICOUTPUT_DISABLE;
  if (HAL_TIMEx_ConfigBreakDeadTime(&htim1, &sBreakDeadTimeConfig) != HAL_OK)
  {
    _Error_Handler(__FILE__, __LINE__);
  }

  HAL_TIM_MspPostInit(&htim1);

}

/* TIM2 init function */
static void MX_TIM2_Init(void)
{

  TIM_MasterConfigTypeDef sMasterConfig;
  TIM_OC_InitTypeDef sConfigOC;

  htim2.Instance = TIM2;
  htim2.Init.Prescaler = 287;
  htim2.Init.CounterMode = TIM_COUNTERMODE_UP;
  htim2.Init.Period = 509;
  htim2.Init.ClockDivision = TIM_CLOCKDIVISION_DIV1;
  htim2.Init.AutoReloadPreload = TIM_AUTORELOAD_PRELOAD_DISABLE;
  if (HAL_TIM_PWM_Init(&htim2) != HAL_OK)
  {
    _Error_Handler(__FILE__, __LINE__);
  }

  sMasterConfig.MasterOutputTrigger = TIM_TRGO_RESET;
  sMasterConfig.MasterSlaveMode = TIM_MASTERSLAVEMODE_DISABLE;
  if (HAL_TIMEx_MasterConfigSynchronization(&htim2, &sMasterConfig) != HAL_OK)
  {
    _Error_Handler(__FILE__, __LINE__);
  }

  sConfigOC.OCMode = TIM_OCMODE_PWM1;
  sConfigOC.Pulse = 0;
  sConfigOC.OCPolarity = TIM_OCPOLARITY_HIGH;
  sConfigOC.OCFastMode = TIM_OCFAST_ENABLE;
  if (HAL_TIM_PWM_ConfigChannel(&htim2, &sConfigOC, TIM_CHANNEL_1) != HAL_OK)
  {
    _Error_Handler(__FILE__, __LINE__);
  }

  if (HAL_TIM_PWM_ConfigChannel(&htim2, &sConfigOC, TIM_CHANNEL_2) != HAL_OK)
  {
    _Error_Handler(__FILE__, __LINE__);
  }

  if (HAL_TIM_PWM_ConfigChannel(&htim2, &sConfigOC, TIM_CHANNEL_3) != HAL_OK)
  {
    _Error_Handler(__FILE__, __LINE__);
  }

  if (HAL_TIM_PWM_ConfigChannel(&htim2, &sConfigOC, TIM_CHANNEL_4) != HAL_OK)
  {
    _Error_Handler(__FILE__, __LINE__);
  }

  HAL_TIM_MspPostInit(&htim2);

}

/* TIM3 init function */
static void MX_TIM3_Init(void)
{

  TIM_MasterConfigTypeDef sMasterConfig;
  TIM_IC_InitTypeDef sConfigIC;

  htim3.Instance = TIM3;
  htim3.Init.Prescaler = 8;
  htim3.Init.CounterMode = TIM_COUNTERMODE_UP;
  htim3.Init.Period = 7199;
  htim3.Init.ClockDivision = TIM_CLOCKDIVISION_DIV1;
  htim3.Init.AutoReloadPreload = TIM_AUTORELOAD_PRELOAD_DISABLE;
  if (HAL_TIM_IC_Init(&htim3) != HAL_OK)
  {
    _Error_Handler(__FILE__, __LINE__);
  }

  sMasterConfig.MasterOutputTrigger = TIM_TRGO_RESET;
  sMasterConfig.MasterSlaveMode = TIM_MASTERSLAVEMODE_DISABLE;
  if (HAL_TIMEx_MasterConfigSynchronization(&htim3, &sMasterConfig) != HAL_OK)
  {
    _Error_Handler(__FILE__, __LINE__);
  }

  sConfigIC.ICPolarity = TIM_INPUTCHANNELPOLARITY_RISING;
  sConfigIC.ICSelection = TIM_ICSELECTION_DIRECTTI;
  sConfigIC.ICPrescaler = TIM_ICPSC_DIV1;
  sConfigIC.ICFilter = 0;
  if (HAL_TIM_IC_ConfigChannel(&htim3, &sConfigIC, TIM_CHANNEL_1) != HAL_OK)
  {
    _Error_Handler(__FILE__, __LINE__);
  }

  if (HAL_TIM_IC_ConfigChannel(&htim3, &sConfigIC, TIM_CHANNEL_2) != HAL_OK)
  {
    _Error_Handler(__FILE__, __LINE__);
  }

  if (HAL_TIM_IC_ConfigChannel(&htim3, &sConfigIC, TIM_CHANNEL_3) != HAL_OK)
  {
    _Error_Handler(__FILE__, __LINE__);
  }

  if (HAL_TIM_IC_ConfigChannel(&htim3, &sConfigIC, TIM_CHANNEL_4) != HAL_OK)
  {
    _Error_Handler(__FILE__, __LINE__);
  }

}

/* TIM4 init function */
static void MX_TIM4_Init(void)
{

  TIM_MasterConfigTypeDef sMasterConfig;
  TIM_OC_InitTypeDef sConfigOC;

  htim4.Instance = TIM4;
  htim4.Init.Prescaler = 287;
  htim4.Init.CounterMode = TIM_COUNTERMODE_UP;
  htim4.Init.Period = 509;
  htim4.Init.ClockDivision = TIM_CLOCKDIVISION_DIV1;
  htim4.Init.AutoReloadPreload = TIM_AUTORELOAD_PRELOAD_DISABLE;
  if (HAL_TIM_PWM_Init(&htim4) != HAL_OK)
  {
    _Error_Handler(__FILE__, __LINE__);
  }

  sMasterConfig.MasterOutputTrigger = TIM_TRGO_RESET;
  sMasterConfig.MasterSlaveMode = TIM_MASTERSLAVEMODE_DISABLE;
  if (HAL_TIMEx_MasterConfigSynchronization(&htim4, &sMasterConfig) != HAL_OK)
  {
    _Error_Handler(__FILE__, __LINE__);
  }

  sConfigOC.OCMode = TIM_OCMODE_PWM1;
  sConfigOC.Pulse = 0;
  sConfigOC.OCPolarity = TIM_OCPOLARITY_HIGH;
  sConfigOC.OCFastMode = TIM_OCFAST_ENABLE;
  if (HAL_TIM_PWM_ConfigChannel(&htim4, &sConfigOC, TIM_CHANNEL_3) != HAL_OK)
  {
    _Error_Handler(__FILE__, __LINE__);
  }

  if (HAL_TIM_PWM_ConfigChannel(&htim4, &sConfigOC, TIM_CHANNEL_4) != HAL_OK)
  {
    _Error_Handler(__FILE__, __LINE__);
  }

  HAL_TIM_MspPostInit(&htim4);

}

/* USART3 init function */
static void MX_USART3_UART_Init(void)
{

  huart3.Instance = USART3;
  huart3.Init.BaudRate = 115200;
  huart3.Init.WordLength = UART_WORDLENGTH_8B;
  huart3.Init.StopBits = UART_STOPBITS_1;
  huart3.Init.Parity = UART_PARITY_NONE;
  huart3.Init.Mode = UART_MODE_TX_RX;
  huart3.Init.HwFlowCtl = UART_HWCONTROL_NONE;
  huart3.Init.OverSampling = UART_OVERSAMPLING_16;

  if (HAL_UART_Init(&huart3) != HAL_OK)
  {
    _Error_Handler(__FILE__, __LINE__);
  }

}

/** Configure pins as
        * Analog
        * Input
        * Output
        * EVENT_OUT
        * EXTI
*/
static void MX_GPIO_Init(void)
{

  GPIO_InitTypeDef GPIO_InitStruct;

  /* GPIO Ports Clock Enable */
  __HAL_RCC_GPIOD_CLK_ENABLE();
  __HAL_RCC_GPIOC_CLK_ENABLE();
  __HAL_RCC_GPIOA_CLK_ENABLE();
  __HAL_RCC_GPIOB_CLK_ENABLE();

  /*Configure GPIO pin Output Level */
  HAL_GPIO_WritePin(GPIOA, Gimbal_DIR_Pin|DC_E_DIR_Pin|LED_Pin, GPIO_PIN_RESET);

  /*Configure GPIO pin Output Level */
  HAL_GPIO_WritePin(GPIOB, DC_A_DIR_Pin|DC_B_DIR_Pin|DC_C_DIR_Pin|DC_D_DIR_Pin, GPIO_PIN_RESET);

  /*Configure GPIO pin : PC3 */
  GPIO_InitStruct.Pin = GPIO_PIN_3;
  GPIO_InitStruct.Mode = GPIO_MODE_INPUT;
  GPIO_InitStruct.Pull = GPIO_NOPULL;
  HAL_GPIO_Init(GPIOC, &GPIO_InitStruct);

  /*Configure GPIO pins : Gimbal_DIR_Pin DC_E_DIR_Pin LED_Pin */
  GPIO_InitStruct.Pin = Gimbal_DIR_Pin|DC_E_DIR_Pin|LED_Pin;
  GPIO_InitStruct.Mode = GPIO_MODE_OUTPUT_PP;
  GPIO_InitStruct.Pull = GPIO_NOPULL;
  GPIO_InitStruct.Speed = GPIO_SPEED_FREQ_HIGH;
  HAL_GPIO_Init(GPIOA, &GPIO_InitStruct);

  /*Configure GPIO pins : DC_A_DIR_Pin DC_B_DIR_Pin DC_C_DIR_Pin DC_D_DIR_Pin */
  GPIO_InitStruct.Pin = DC_A_DIR_Pin|DC_B_DIR_Pin|DC_C_DIR_Pin|DC_D_DIR_Pin;
  GPIO_InitStruct.Mode = GPIO_MODE_OUTPUT_PP;
  GPIO_InitStruct.Pull = GPIO_NOPULL;
  GPIO_InitStruct.Speed = GPIO_SPEED_FREQ_HIGH;
  HAL_GPIO_Init(GPIOB, &GPIO_InitStruct);

  /*Configure GPIO pin : PD2 */
  GPIO_InitStruct.Pin = GPIO_PIN_2;
  GPIO_InitStruct.Mode = GPIO_MODE_INPUT;
  GPIO_InitStruct.Pull = GPIO_NOPULL;
  HAL_GPIO_Init(GPIOD, &GPIO_InitStruct);

  /*Configure GPIO pins : PB3 PB4 PB5 */
  GPIO_InitStruct.Pin = GPIO_PIN_3|GPIO_PIN_4|GPIO_PIN_5;
  GPIO_InitStruct.Mode = GPIO_MODE_INPUT;
  GPIO_InitStruct.Pull = GPIO_NOPULL;
  HAL_GPIO_Init(GPIOB, &GPIO_InitStruct);

  GPIO_InitStruct.Pin = GPIO_PIN_10|GPIO_PIN_11;
  GPIO_InitStruct.Mode = GPIO_MODE_AF_PP;
  GPIO_InitStruct.Pull = GPIO_PULLUP;
  HAL_GPIO_Init(GPIOC, &GPIO_InitStruct);

}

/* USER CODE BEGIN 4 */

// TODO: targetDeg ??? rpi???? ???? YAW???? ?????????.
void setPidBLDC(PID *pid)
{
  pid->err = yaw.target - yaw.angle;
  pid->de = pid->err - pid->err_prev;
  pid->dt = 0.001;
  pid->p = pid->err * pid->kp;
  pid->i = pid->i + pid->err * pid->dt * pid->ki;
  pid->i = constrain(pid->i,-10,10);
  pid->d = pid->kd * (pid->de / pid->dt);
  pid->control = pid->p + pid->i + pid->d;
  pid->control = constrain(pid->control,-50,50);
  pid->err_prev = pid->err;
}

void setPidDC(PID *pid, CH *ch, DC *dc, int axis)
{
  float temp;

  if (axis == 0) // roll
  {
      temp = roll.target - ch->angle;
  }
  else          // pitch
  {
    temp = pitch.target - ch->angle;
  }

  if(temp < -180) {
      pid->err = 360 + temp;
  }
  else if ( temp >= 180) {
      pid->err = -(360 - temp);
  }
  else {
      pid->err = temp;
  }

  pid->de = pid->err - pid->err_prev;
  pid->dt = 0.001;
  pid->p = pid->err * pid->kp;
  pid->i += pid->err * pid->dt * pid->ki;
  pid->i = constrain(pid->i,-30,30);
  pid->d = pid->kd * (pid->de / pid->dt);
  pid->control = pid->p + pid->i + pid->d;

  //printf("p: %.2f\t", pid->p); printf("i: %.2f\t", pid->i); printf("d: %.2f\t", pid->d);  printf("pid: %.3f\n", pid->control);
  pid->control = constrain(pid->control,-510,510);
  dc->setValue = pid->control;
  pid->err_prev = pid->err;
}

void sepReceiveBuf(PID *pid, int bufCount)
{
  pid->kp_integer  = ReceiveFromRpiBuf[bufCount+1];
  pid->kp_decimalL = ReceiveFromRpiBuf[bufCount+2];
  pid->kp_decimalH = ReceiveFromRpiBuf[bufCount+3];
  pid->ki_integer  = ReceiveFromRpiBuf[bufCount+4];
  pid->ki_decimalL = ReceiveFromRpiBuf[bufCount+5];
  pid->ki_decimalH = ReceiveFromRpiBuf[bufCount+6];
  pid->kd_integer  = ReceiveFromRpiBuf[bufCount+7];
  pid->kd_decimalL = ReceiveFromRpiBuf[bufCount+8];
  pid->kd_decimalH = ReceiveFromRpiBuf[bufCount+9];
}

void sumReceiveBuf(PID *pid)
{
  pid->kp =  pid->kp_integer;
  pid->kp += (float)((pid->kp_decimalH << 8) | (pid->kp_decimalL)) * 0.001;

  pid->ki =  pid->ki_integer;
  pid->ki += (float)((pid->ki_decimalH << 8) | (pid->ki_decimalL)) * 0.001;

  pid->kd =  pid->kd_integer;
  pid->kd += (float)((pid->kd_decimalH << 8) | (pid->kd_decimalL)) * 0.001;
}

void entReceiveBuf()
{/*
    sepReceiveBuf(&pid0, -1);
    sepReceiveBuf(&pid1, 8);
    sepReceiveBuf(&pid2, 17);
    sepReceiveBuf(&pid3, 26);
    sepReceiveBuf(&pid4, 35);

    roll.target     = ReceiveFromRpiBuf[45];
    pitch.target    = ReceiveFromRpiBuf[46];
    yaw.target      = ReceiveFromRpiBuf[47];
    throttle        = ReceiveFromRpiBuf[48];
    yaw.integerL    = ReceiveFromRpiBuf[49];
    yaw.integerH    = ReceiveFromRpiBuf[50];
    yaw.decimalL    = ReceiveFromRpiBuf[51];
    yaw.decimalH    = ReceiveFromRpiBuf[52];
    dc4.setValue    = ReceiveFromRpiBuf[53];
    ArmState        = ReceiveFromRpiBuf[54];

    sumReceiveBuf(&pid0);
    sumReceiveBuf(&pid1);
    sumReceiveBuf(&pid2);
    sumReceiveBuf(&pid3);
    sumReceiveBuf(&pid4);
    */

    sepReceiveBuf(&pid4, -1);
    sumReceiveBuf(&pid4);

    roll.target     = ReceiveFromRpiBuf[9];
    pitch.target    = ReceiveFromRpiBuf[10];
    yaw.target      = ReceiveFromRpiBuf[11];
    throttle        = ReceiveFromRpiBuf[12];
    yaw.integerL    = ReceiveFromRpiBuf[13];
    yaw.integerH    = ReceiveFromRpiBuf[14];
    yaw.decimalL    = ReceiveFromRpiBuf[15];
    yaw.decimalH    = ReceiveFromRpiBuf[16];
    dc4.setValue    = ReceiveFromRpiBuf[17];
    ArmState        = ReceiveFromRpiBuf[18];

    throttle = map(throttle,0,255,0,875);
    yaw.angle = yaw.integerH + yaw.integerL;

    roll.target = map(roll.target,0,90,-45,45);
    pitch.target = map(pitch.target,0,90,-45,45);
    yaw.target = map(yaw.target,0,90,-45,45);

    if(roll.target <= -1)
      roll.target  = roll.target+360;
    if(pitch.target <= -1)
      pitch.target = pitch.target + 360;

    yaw.angle += ((float)((yaw.decimalH << 8) | (yaw.decimalL)) * 0.001) - 255;

   // printf("%.3f %.3f %.3f \r\n", pid4.kp, pid4.ki, pid4.kd);
    //printf("%d\r\n", dc4.setValue);
    //printf("%d %d %d %d %f\r\n", roll.target, pitch.target, yaw.target, throttle, yaw.angle);

}

void HAL_UART_RxCpltCallback(UART_HandleTypeDef *huart) {
  if(checkSum(ReceiveFromRpiBuf, RECEIVE_FROM_RPI_BYTE-1,ReceiveFromRpiBuf[RECEIVE_FROM_RPI_BYTE-1]) == 0)
  {
    Fill_ReceiveFromRpi = 1;
  }
  USART_ClearITPendingBit(&huart3, UART_IT_TC);

}

void calEncoder(CH *ch) {
    ch->angle = ch->width*0.05;
    if(ch->angle >= 360.0)
      ch->angle = 360.0;
    //if(ch->angle > 179.9)
    //  ch->print = map(ch->angle,180.0,360.00,-179.99,-0.01);
    else
      ch->print = ch->angle;
    ch->status = 0;

}

float getMvAverage(__IO float *ch, __IO float value, int len)
{
    float sum = 0;

    for(int i=0;i<len-1;i++)
      ch[i] = ch[i]+1;

    ch[len-1] = value;

    for(int i=0;i<len;i++)
      sum += ch[i];

    return sum / (float)len;

}

uint8_t checkSum(uint8_t *data, uint8_t len, uint8_t checkSumByte) {
  uint16_t sum = 0;
  uint8_t nibble = 0;
  for(int i=0;i<len;i++) {
    sum += data[i];
  }
  nibble = sum >> 8;
  sum = (sum & 0xff) + nibble;
  return ~(checkSumByte + sum);
}

void HAL_UART_ErrorCallback(UART_HandleTypeDef *huart) {

  //UART_RxAgain(huart);
}

//USART_ClearITPendingBit(USARTx, USART_IT_TC)

void USART_ClearITPendingBit(UART_HandleTypeDef* USARTx, uint16_t USART_IT)
{
  uint16_t bitpos = 0x00, itmask = 0x00;
  /* Check the parameters */
  assert_param(IS_USART_ALL_PERIPH(USARTx));
  assert_param(IS_USART_CLEAR_IT(USART_IT));
  /* The CTS interrupt is not available for UART4 and UART5 */
  if (USART_IT == UART_IT_CTS)
  {
    assert_param(IS_USART_123_PERIPH(USARTx));
  }

  bitpos = USART_IT >> 0x08;
  itmask = ((uint16_t)0x01 << (uint16_t)bitpos);
  USARTx->Instance->SR = (uint16_t)~itmask;
}

/* input capture?y? callback??? ???*/
void HAL_TIM_IC_CaptureCallback(TIM_HandleTypeDef *htim)
{
  // INPUT CAPTURE ????? TIM3 ?? ???? ???????? ???
  if(htim ->Instance == TIM3)
  {
      if(htim->Channel == HAL_TIM_ACTIVE_CHANNEL_1) // TIM a???? 1?? ???
      {
            timer2Tick ++;
            ch0.newv = htim ->Instance->CCR1;                 // a??0 newv?? ???? ?��? ????
            if(HAL_GPIO_ReadPin(GPIOC,GPIO_PIN_6))    //  RISING EDGE???? ???? ???? ???
            {
                ch0.oldv = ch0.newv;                                   //  ????? FALLING EDGE?? ???? ??? ?? ????? ???????? ??????? old?? ????
                set_polarity(TIM3,1,2);                                 //   ?????? ?????? RISING EDGE???? FALLING EDGE?? ???
            }
            else
            {
                set_polarity(TIM3,1,0);                                 // ?????? ?????? FALLING EDGE???? RISING EDGE?? ???
                // falling ???? ???? rising???? ???? ???? ?????? ????? ??? [?????����???? ???]
                ch0.width  = (ch0.newv > ch0.oldv)? (ch0.newv - ch0.oldv) : (7200 + ch0.newv - ch0.oldv);
                ch0.status = 1;  // ???��? ??? ?? ??????? ????
            }
      }
      else if(htim->Channel == HAL_TIM_ACTIVE_CHANNEL_2)
      {
            ch1.newv = htim ->Instance->CCR2;
            if(HAL_GPIO_ReadPin(GPIOC,GPIO_PIN_7))
            {
                ch1.oldv = ch1.newv;
                set_polarity(TIM3,2,2);
            }
            else
            {
                set_polarity(TIM3,2,0);
                ch1.width  = (ch1.newv > ch1.oldv)? (ch1.newv - ch1.oldv) : (7200 + ch1.newv - ch1.oldv);
                ch1.status = 1;
            }
      }
      else if(htim->Channel == HAL_TIM_ACTIVE_CHANNEL_3)
      {
            ch2.newv = htim ->Instance->CCR3;
            if(HAL_GPIO_ReadPin(GPIOC,GPIO_PIN_8))
            {
                ch2.oldv = ch2.newv;
                set_polarity(TIM3,3,2);
            }
            else
            {
                set_polarity(TIM3,3,0);
                ch2.width  = (ch2.newv > ch2.oldv)? (ch2.newv - ch2.oldv) : (7200 + ch2.newv - ch2.oldv);
                ch2.status = 1;
            }
      }

       else if(htim->Channel == HAL_TIM_ACTIVE_CHANNEL_4)
      {
            ch3.newv = htim ->Instance->CCR4;
            if(HAL_GPIO_ReadPin(GPIOC,GPIO_PIN_9))
            {
                ch3.oldv = ch3.newv;
                set_polarity(TIM3,4,2);
            }
            else
            {
                set_polarity(TIM3,4,0);
                ch3.width  = (ch3.newv > ch3.oldv)? (ch3.newv - ch3.oldv) : (7200 + ch3.newv - ch3.oldv);
                ch3.status = 1;
            }
      }
  }
}

int map(int x, int in_min, int in_max, int out_min, int out_max)
{
  return (x - in_min) * (out_max - out_min) / (in_max - in_min) + out_min;
}

float map_float(float x, float in_min, float in_max, float out_min, float out_max)
{
  return (x - in_min) * (out_max - out_min) / (in_max - in_min) + out_min;
}

void set_polarity(TIM_TypeDef *tim,uint16_t ch,uint16_t polarity)
{ // ch(1,2,3,4), polarity 0: rise,high, 2: fall,low
  uint16_t c = TIM_CCER_CC1P << ((ch-1)*4);
  if( polarity == 0 )           // RISING???? ???
      tim->CCER &= ~c;
  else                            // FALLING???? ???
      tim->CCER |= c;
}

/* USER CODE END 4 */

void _Error_Handler(char *file, int line)
{
  while(1)
  {
  }
}

/************************ (C) COPYRIGHT STMicroelectronics *****END OF FILE****/
